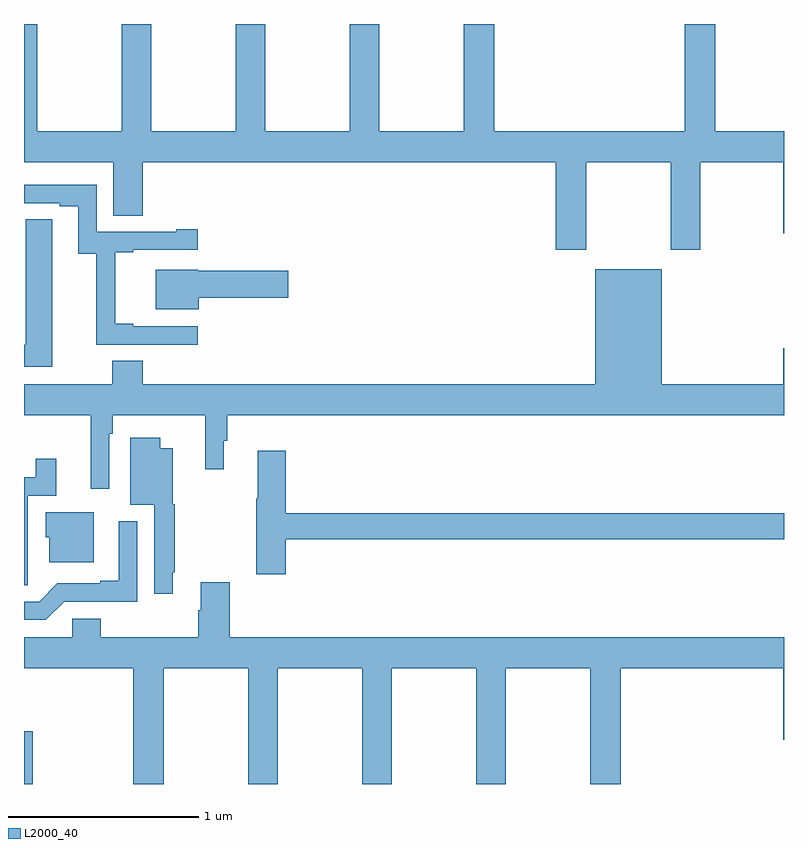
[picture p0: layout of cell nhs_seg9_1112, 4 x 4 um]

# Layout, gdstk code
import gdstk
lib = gdstk.Library(unit=1e-6, precision=1e-09)
def R(c, l, rs):  # rectangles x0, y0, x1, y1
    for r in rs: c.add(gdstk.rectangle(r[:2], r[2:], *l))
def P(c, l, *ps):  # polygons
    for p in ps: c.add(gdstk.Polygon(p, *l))
L2000_40 = (2000, 40)

nhs_seg9_1112 = lib.new_cell('nhs_seg9_1112')
R(nhs_seg9_1112, L2000_40, [(173,1174.5,173.045,1174.777)])
P(nhs_seg9_1112, L2000_40, [(175.959,1177.772),(176.404,1177.772),(176.404,1177.311),(176.559,1177.311),(176.559,1177.772),(176.996,1177.772),(176.996,1177.398),(177,1177.398),(177,1177.936),(176.637,1177.936),(176.637,1178.5),(176.477,1178.5),(176.477,1177.936),(175.475,1177.936),(175.475,1178.5),(175.315,1178.5),(175.315,1177.936),(174.87,1177.936),(174.87,1178.5),(174.715,1178.5),(174.715,1177.936),(174.27,1177.936),(174.27,1178.5),(174.115,1178.5),(174.115,1177.936),(173.67,1177.936),(173.67,1178.5),(173.515,1178.5),(173.515,1177.936),(173.07,1177.936),(173.07,1178.5),(173,1178.5),(173,1177.772),(173.471,1177.772),(173.471,1177.492),(173.624,1177.492),(173.624,1177.772),(175.799,1177.772),(175.799,1177.311),(175.959,1177.311)],
  [(173.914,1176.909),(173.575,1176.909),(173.575,1176.922),(173.48,1176.922),(173.48,1177.299),(173.575,1177.299),(173.575,1177.311),(173.914,1177.311),(173.914,1177.42),(173.801,1177.42),(173.801,1177.407),(173.382,1177.407),(173.382,1177.653),(173,1177.653),(173,1177.557),(173.189,1177.557),(173.189,1177.542),(173.285,1177.542),(173.285,1177.291),(173.38,1177.291),(173.38,1176.813),(173.914,1176.813)],
  [(173.149,1177.364),(173.148,1177.364),(173.148,1177.472),(173.009,1177.472),(173.009,1176.812),(173,1176.812),(173,1176.696),(173.149,1176.696)],
  [(173.448,1176.344),(173.468,1176.344),(173.468,1176.44),(173.953,1176.44),(173.953,1176.156),(174.052,1176.156),(174.052,1176.306),(174.071,1176.306),(174.071,1176.44),(177,1176.44),(177,1176.793),(176.996,1176.793),(176.996,1176.604),(176.356,1176.604),(176.356,1177.21),(176.006,1177.21),(176.006,1176.604),(173.624,1176.604),(173.624,1176.728),(173.464,1176.728),(173.464,1176.604),(173,1176.604),(173,1176.44),(173.351,1176.44),(173.351,1176.054),(173.448,1176.054)],
  [(173.92,1177.06),(174.391,1177.06),(174.391,1177.202),(173.916,1177.202),(173.916,1177.207),(173.693,1177.207),(173.693,1176.998),(173.92,1176.998)],
  [(173.782,1175.614),(173.794,1175.614),(173.794,1175.973),(173.782,1175.973),(173.782,1176.268),(173.716,1176.268),(173.716,1176.322),(173.558,1176.322),(173.558,1175.969),(173.685,1175.969),(173.685,1175.502),(173.782,1175.502)],
  [(174.377,1175.788),(177,1175.788),(177,1175.924),(174.377,1175.924),(174.377,1176.253),(174.23,1176.253),(174.23,1176.001),(174.223,1176.001),(174.223,1175.604),(174.377,1175.604)],
  [(173.019,1175.656),(173.02,1175.656),(173.02,1176.018),(173.171,1176.018),(173.171,1176.211),(173.062,1176.211),(173.062,1176.114),(173,1176.114),(173,1175.545),(173.019,1175.545)],
  [(173.368,1175.929),(173.114,1175.929),(173.114,1175.799),(173.132,1175.799),(173.132,1175.666),(173.368,1175.666)],
  [(173.211,1175.46),(173.595,1175.46),(173.595,1175.884),(173.498,1175.884),(173.498,1175.569),(173.402,1175.569),(173.402,1175.556),(173.175,1175.556),(173.079,1175.46),(173,1175.46),(173,1175.364),(173.115,1175.364)],
  [(173.736,1175.108),(174.181,1175.108),(174.181,1174.5),(174.336,1174.5),(174.336,1175.108),(174.781,1175.108),(174.781,1174.5),(174.936,1174.5),(174.936,1175.108),(175.381,1175.108),(175.381,1174.5),(175.536,1174.5),(175.536,1175.108),(175.981,1175.108),(175.981,1174.5),(176.141,1174.5),(176.141,1175.108),(176.996,1175.108),(176.996,1174.734),(177,1174.734),(177,1175.272),(174.083,1175.272),(174.083,1175.563),(173.93,1175.563),(173.93,1175.414),(173.918,1175.414),(173.918,1175.272),(173.405,1175.272),(173.405,1175.37),(173.253,1175.37),(173.253,1175.272),(173,1175.272),(173,1175.108),(173.576,1175.108),(173.576,1174.5),(173.736,1174.5)])

lib.write_gds('nhs_seg9_1112.gds')
